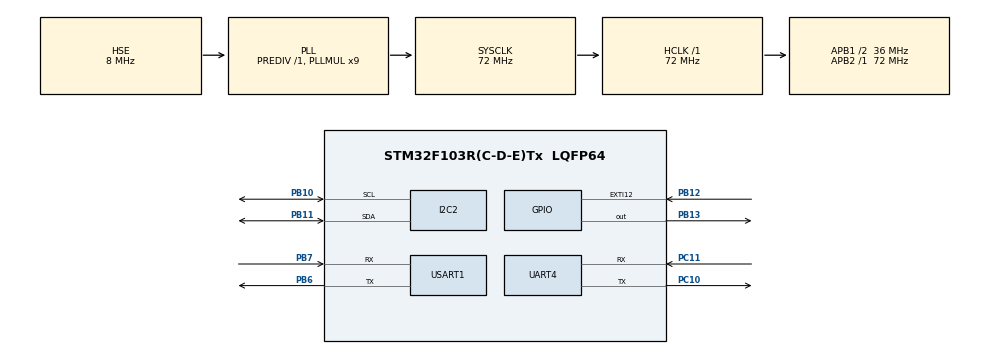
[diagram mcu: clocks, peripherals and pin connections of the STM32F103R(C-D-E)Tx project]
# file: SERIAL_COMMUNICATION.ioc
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I2C2.I2C_Mode=I2C_Fast
Mcu.Family=STM32F1
Mcu.Name=STM32F103R(C-D-E)Tx
Mcu.Package=LQFP64
NVIC.EXTI15_10_IRQn=true\:0\:0\:false\:false\:true\:true\:true\:true
NVIC.PriorityGroup=NVIC_PRIORITYGROUP_4
NVIC.UART4_IRQn=true\:0\:0\:false\:false\:true\:true\:true\:true
PA13.Mode=Serial_Wire
PA13.Signal=SYS_JTMS-SWDIO
PA14.Mode=Serial_Wire
PA14.Signal=SYS_JTCK-SWCLK
PB10.Mode=I2C
PB10.Signal=I2C2_SCL
PB11.Mode=I2C
PB11.Signal=I2C2_SDA
PB12.Signal=GPXTI12
PB13.Signal=GPIO_Output
PB6.Mode=Asynchronous
PB6.Signal=USART1_TX
PB7.Mode=Asynchronous
PB7.Signal=USART1_RX
PC10.Mode=Asynchronous
PC10.Signal=UART4_TX
PC11.Mode=Asynchronous
PC11.Signal=UART4_RX
PC14-OSC32_IN.Mode=LSE-External-Oscillator
PC14-OSC32_IN.Signal=RCC_OSC32_IN
PC15-OSC32_OUT.Mode=LSE-External-Oscillator
PC15-OSC32_OUT.Signal=RCC_OSC32_OUT
PD0-OSC_IN.Mode=HSE-External-Oscillator
PD0-OSC_IN.Signal=RCC_OSC_IN
PD1-OSC_OUT.Mode=HSE-External-Oscillator
PD1-OSC_OUT.Signal=RCC_OSC_OUT
ProjectManager.HeapSize=0x200
ProjectManager.StackSize=0x400
ProjectManager.TargetToolchain=STM32CubeIDE
RCC.AHBFreq_Value=72000000
RCC.APB1CLKDivider=RCC_HCLK_DIV2
RCC.APB1Freq_Value=36000000
RCC.APB1TimFreq_Value=72000000
RCC.APB2Freq_Value=72000000
RCC.APB2TimFreq_Value=72000000
RCC.HCLKFreq_Value=72000000
RCC.PLLMUL=RCC_PLL_MUL9
RCC.PLLSourceVirtual=RCC_PLLSOURCE_HSE
RCC.SYSCLKFreq_VALUE=72000000
RCC.SYSCLKSource=RCC_SYSCLKSOURCE_PLLCLK
RCC.USBFreq_Value=72000000
UART4.VirtualMode=Asynchronous
USART1.VirtualMode=VM_ASYNC
board=custom

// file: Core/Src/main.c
/* USER CODE BEGIN Header */
/**
 ******************************************************************************
 * @file           : main.c
 * @brief          : Main program body
 ******************************************************************************
 * @attention
 *
 * Copyright (c) 2022 STMicroelectronics.
 * All rights reserved.
 *
 * This software is licensed under terms that can be found in the LICENSE file
 * in the root directory of this software component.
 * If no LICENSE file comes with this software, it is provided AS-IS.
 *
 ******************************************************************************
 */
/* USER CODE END Header */
#include "main.h"

/* USER CODE BEGIN Includes */
#include "FRAME_PARSE.h"
#include "max30102.h"
#include "uart_print.h"
#include "spo2_algorithm.h"
#include  "dev_act_hdl.h"
/* USER CODE END Includes */

I2C_HandleTypeDef hi2c2;

UART_HandleTypeDef huart4;
UART_HandleTypeDef huart1;

/* USER CODE BEGIN PV */
uint8_t receive_data;
FrameParse_t FrameParse;
MAX30105_t particleSensor;
USART_H_t USART_handler;
// global definitions.
extern unsigned char RxBuf[RXBUFSIZE];// receive buffer
extern int RxHead; // circular buffer index
extern int RxTail; // circular buffer index

// MAX30102
#if defined(__AVR_ATmega328P__) || defined(__AVR_ATmega168__)
// Arduino Uno doesn't have enough SRAM to store 100 samples of IR led data and red led data in 32-bit format
// To solve this problem, 16-bit MSB of the sampled data will be truncated. Samples become 16-bit data.
uint16_t irBuffer[100];  // infrared LED sensor data
uint16_t redBuffer[100]; // red LED sensor data
#else
uint32_t irBuffer[100];  // infrared LED sensor data
uint32_t redBuffer[100]; // red LED sensor data
#endif
const int32_t ledsBufferLength = 100;  // data length
uint8_t ledBufIndex = 0;
//int32_t MAX30102_O_BUF[4];
int32_t spo2 = 0;          // SPO2 value
int8_t validSPO2 = 0;      // indicator to show if the SPO2 calculation is valid
int32_t heartRate = 0;     // heart rate value
int8_t validHeartRate = 0; // indicator to show if the heart rate calculation is valid

//
uint8_t startToCalculate = 1;
/* USER CODE END PV */

void SystemClock_Config(void);
static void MX_GPIO_Init(void);
static void MX_UART4_Init(void);
static void MX_USART1_UART_Init(void);
static void MX_I2C2_Init(void);

/* USER CODE BEGIN 0 */
void HAL_UART_RxCpltCallback(UART_HandleTypeDef *huart)
{
	// huart 4
	//	if(*huart == &huart4)
	//	{
	uint8_t rx = huart->Instance->DR;

	// put new char into buffer from UART
	RxBuf[RxHead] = rx;

	if ((++RxHead) > (RXBUFSIZE-1))
	{
		RxHead = 0;
	}

	//
	HAL_UART_Receive_IT(&huart4, &receive_data, 1);
	//		uint8_t __char = _getchar();
	//	    HAL_UART_Transmit(&huart1, &rx, 1, 1000);
	//	    if(rx == 0xE2u)
	//	    	HAL_GPIO_TogglePin(GPIOB, GPIO_PIN_12);

	//	}

}

void Handle_UART_FP()
{
	if(FrameParse.FP_MOD != DECT_COML)
	{
		uint8_t __char = _getchar();
		ParseFrameHandler(&FrameParse, __char);
		//		HAL_UART_Transmit(&huart1, &__char, 1, 100);
	}
	else
	{
		HandlerDeviceAction(FrameParse._CMD,
				FrameParse.buffer.len,
				FrameParse.buffer.data);
		FP_Init(&FrameParse);
	}
}
/* USER CODE END 0 */

int main(void)
{

  /* MCU Configuration--------------------------------------------------------*/

  /* Reset of all peripherals, Initializes the Flash interface and the Systick. */
  HAL_Init();

  /* USER CODE BEGIN Init */
	FP_Init(&FrameParse);
	MAX30105_Init(&particleSensor, &hi2c2);
	USART_Init(&USART_handler, &huart1);
  /* USER CODE END Init */

  /* Configure the system clock */
  SystemClock_Config();

  /* Initialize all configured peripherals */
  MX_GPIO_Init();
  MX_UART4_Init();
  MX_USART1_UART_Init();
  MX_I2C2_Init();
  /* USER CODE BEGIN 2 */
	// Initialize sensor
	if(!MAX30105_begin(&particleSensor, MAX30105_ADDRESS))
	{
		//MAX30105 was not found. Please check wiring/power.
		while(1);
	}

	uint8_t ledBrightness = 60; // Options: 0=Off to 255=50mA
	uint8_t sampleAverage = 4;  // Options: 1, 2, 4, 8, 16, 32
	uint8_t ledMode = 2;        // Options: 1 = Red only, 2 = Red + IR, 3 = Red + IR + Green
	uint8_t sampleRate = 100;   // Options: 50, 100, 200, 400, 800, 1000, 1600, 3200
	int pulseWidth = 411;    // Options: 69, 118, 215, 411
	int adcRange = 4096;     // Options: 2048, 4096, 8192, 16384

	MAX30105_setup(&particleSensor, ledBrightness, sampleAverage, ledMode, sampleRate, pulseWidth, adcRange); // Configure sensor with these settings

	//
	HAL_UART_Receive_IT(&huart4, &receive_data, 1);
  /* USER CODE END 2 */

  /* Infinite loop */
	while (1)
	{

    /* USER CODE BEGIN 3 */
		if(RxTail != RxHead || FrameParse.FP_MOD == DECT_COML)
			Handle_UART_FP();
		else

			if(startToCalculate)
			{
				uint8_t pData[DEV_0_DT_LEN];
				//		bufferLength = 100; // buffer length of 100 stores 4 seconds of samples running at 25sps
				// read the first 100 samples, and determine the signal range
				for (uint8_t i = 0 ; i < (ledsBufferLength - 1); i++)
				{
					while (!MAX30105_available(&particleSensor)) // do we have new data?
						MAX30105_check(&particleSensor);		// Check the sensor for new data

					redBuffer[i] = MAX30105_getRed(&particleSensor);
					irBuffer[i] = MAX30105_getIR(&particleSensor);
					MAX30105_nextSample(&particleSensor); // We're finished with this sample so move to next sample
					USART_Transmit(&USART_handler, "\r\nred = %d, i = %d", redBuffer[i], i);
					USART_Transmit(&USART_handler, ", ir = %d", irBuffer[i]);

					//
					*((uint16_t*)pData + 0) = redBuffer[i];
					*((uint16_t*)pData + 1) = irBuffer[i];
//					*((uint32_t*)pData + 1) = spo2;
//					*((uint32_t*)pData + 2) = heartRate;
					pData[5] = i; // sychronize, eliminate 8 bytes SPO2 and HR
					//				HandlerDeviceAction(0x00, DEV_0_DT_LEN, pData);
					HandleDeviceSendFrame(0x00, DEV_0_DT_LEN - 8, pData);
				}

				// in 100th
				while (!MAX30105_available(&particleSensor)) // do we have new data?
					MAX30105_check(&particleSensor);		// Check the sensor for new data

				redBuffer[ledsBufferLength - 1] = MAX30105_getRed(&particleSensor);
				irBuffer[ledsBufferLength - 1] = MAX30105_getIR(&particleSensor);
				MAX30105_nextSample(&particleSensor); // We're finished with this sample so move to next sample
				//calculate heart rate and SpO2 after first 100 samples (first 4 seconds of samples)
				maxim_heart_rate_and_oxygen_saturation(irBuffer, ledsBufferLength, redBuffer, &spo2, &validSPO2, &heartRate, &validHeartRate);

				USART_Transmit(&USART_handler, "\r\nred = %d, i = %d", redBuffer[ledsBufferLength - 1], ledsBufferLength - 1);
				USART_Transmit(&USART_handler, ", ir = %d", irBuffer[ledsBufferLength - 1]);
				USART_Transmit(&USART_handler, ", HR = %d", heartRate);
				USART_Transmit(&USART_handler, ", HRvalid = %d", validHeartRate);
				USART_Transmit(&USART_handler, ", SPO2 = %d", spo2);
				USART_Transmit(&USART_handler, ", SPO2Valid = %d", validSPO2);

				//
				*((uint16_t*)pData + 0) = redBuffer[ledsBufferLength - 1];
				*((uint16_t*)pData + 1) = irBuffer[ledsBufferLength - 1];
				*((uint32_t*)pData + 1) = spo2;
				*((uint32_t*)pData + 2) = heartRate;
				pData[DEV_0_DT_LEN - 1] = ledsBufferLength - 1; // sychronize
				//			HandlerDeviceAction(0x00, DEV_0_DT_LEN, pData);
				HandleDeviceSendFrame(0x00, DEV_0_DT_LEN, pData);

				//			startToCalculate = 0;
			}

		//		// Continuously taking samples from MAX30102.  Heart rate and SpO2 are calculated every 1 second
		//		while (startToCalculate)
		//		{
		//			uint8_t pData[DEV_0_DT_LEN];
		//			// dumping the first 25 sets of samples in the memory and shift the last 75 sets of samples to the top
		//			for (uint8_t i = 25; i < 100; i++)
		//			{
		//				redBuffer[i - 25] = redBuffer[i];
		//				irBuffer[i - 25] = irBuffer[i];
		//
		//				//
		//				*((uint16_t*)pData + 0) = redBuffer[i - 25];
		//				*((uint16_t*)pData + 1) = irBuffer[i - 25];
		//				*((uint32_t*)pData + 1) = spo2;
		//				*((uint32_t*)pData + 2) = heartRate;
		//				HandlerDeviceAction(0x00, DEV_0_DT_LEN, pData);
		//			}
		//
		////
		////			// take 25 sets of samples before calculating the heart rate.
		//			for (uint8_t i = 75; i < 100; i++)
		//			{
		//				while (!MAX30105_available(&particleSensor)) // do we have new data?
		//					MAX30105_check(&particleSensor);		// Check the sensor for new data
		//
		////				HAL_GPIO_WritePin(GPIOB, GPIO_PIN_13,
		////						!HAL_GPIO_ReadPin(GPIOB, GPIO_PIN_13)
		////				); // Blink onboard LED with every data read
		//
		//				redBuffer[i] = MAX30105_getRed(&particleSensor);
		//				irBuffer[i] = MAX30105_getIR(&particleSensor);
		//				MAX30105_nextSample(&particleSensor); // We're finished with this sample so move to next sample
		//
		////				UART_sendByte(&USART_handler, redBuffer[i]);
		//				USART_Transmit(&USART_handler, "\r\nred = %d", redBuffer[i]);
		//				USART_Transmit(&USART_handler, ", ir = %d", irBuffer[i]);
		//
		//				USART_Transmit(&USART_handler, ", HR = %d", heartRate);
		//				USART_Transmit(&USART_handler, ", HRvalid = %d", validHeartRate);
		//				USART_Transmit(&USART_handler, ", SPO2 = %d", spo2);
		//				USART_Transmit(&USART_handler, ", SPO2Valid = %d", validSPO2);
		//
		//				//
		////				uint8_t pData[DEV_0_DT_LEN];
		//				*((uint16_t*)pData + 0) = redBuffer[i];
		//				*((uint16_t*)pData + 1) = irBuffer[i];
		//				*((uint32_t*)pData + 1) = spo2;
		//				*((uint32_t*)pData + 2) = heartRate;
		//				HandlerDeviceAction(0x00, DEV_0_DT_LEN, pData);
		//			}
		//
		////			// After gathering 25 new samples recalculate HR and SP02
		//			maxim_heart_rate_and_oxygen_saturation(irBuffer, ledsBufferLength, redBuffer, &spo2, &validSPO2, &heartRate, &validHeartRate);
		//			//
		////			uint8_t pData[DEV_0_DT_LEN];
		//			*((uint16_t*)pData + 0) = redBuffer[ledsBufferLength - 1];
		//			*((uint16_t*)pData + 1) = irBuffer[ledsBufferLength - 1];
		//			*((uint32_t*)pData + 1) = spo2;
		//			*((uint32_t*)pData + 2) = heartRate;
		//			HandlerDeviceAction(0x00, DEV_0_DT_LEN, pData);
		//			//
		//			startToCalculate = 0;
		//		}

	}
  /* USER CODE END 3 */
}

void SystemClock_Config(void)
{
  RCC_OscInitTypeDef RCC_OscInitStruct = {0};
  RCC_ClkInitTypeDef RCC_ClkInitStruct = {0};

  /** Initializes the RCC Oscillators according to the specified parameters
  * in the RCC_OscInitTypeDef structure.
  */
  RCC_OscInitStruct.OscillatorType = RCC_OSCILLATORTYPE_HSE;
  RCC_OscInitStruct.HSEState = RCC_HSE_ON;
  RCC_OscInitStruct.HSEPredivValue = RCC_HSE_PREDIV_DIV1;
  RCC_OscInitStruct.HSIState = RCC_HSI_ON;
  RCC_OscInitStruct.PLL.PLLState = RCC_PLL_ON;
  RCC_OscInitStruct.PLL.PLLSource = RCC_PLLSOURCE_HSE;
  RCC_OscInitStruct.PLL.PLLMUL = RCC_PLL_MUL9;
  if (HAL_RCC_OscConfig(&RCC_OscInitStruct) != HAL_OK)
  {
    Error_Handler();
  }

  /** Initializes the CPU, AHB and APB buses clocks
  */
  RCC_ClkInitStruct.ClockType = RCC_CLOCKTYPE_HCLK|RCC_CLOCKTYPE_SYSCLK
                              |RCC_CLOCKTYPE_PCLK1|RCC_CLOCKTYPE_PCLK2;
  RCC_ClkInitStruct.SYSCLKSource = RCC_SYSCLKSOURCE_PLLCLK;
  RCC_ClkInitStruct.AHBCLKDivider = RCC_SYSCLK_DIV1;
  RCC_ClkInitStruct.APB1CLKDivider = RCC_HCLK_DIV2;
  RCC_ClkInitStruct.APB2CLKDivider = RCC_HCLK_DIV1;

  if (HAL_RCC_ClockConfig(&RCC_ClkInitStruct, FLASH_LATENCY_2) != HAL_OK)
  {
    Error_Handler();
  }
}

static void MX_I2C2_Init(void)
{

  hi2c2.Instance = I2C2;
  hi2c2.Init.ClockSpeed = 400000;
  hi2c2.Init.DutyCycle = I2C_DUTYCYCLE_2;
  hi2c2.Init.OwnAddress1 = 0;
  hi2c2.Init.AddressingMode = I2C_ADDRESSINGMODE_7BIT;
  hi2c2.Init.DualAddressMode = I2C_DUALADDRESS_DISABLE;
  hi2c2.Init.OwnAddress2 = 0;
  hi2c2.Init.GeneralCallMode = I2C_GENERALCALL_DISABLE;
  hi2c2.Init.NoStretchMode = I2C_NOSTRETCH_DISABLE;
  if (HAL_I2C_Init(&hi2c2) != HAL_OK)
  {
    Error_Handler();
  }

}

static void MX_UART4_Init(void)
{

  huart4.Instance = UART4;
  huart4.Init.BaudRate = 115200;
  huart4.Init.WordLength = UART_WORDLENGTH_8B;
  huart4.Init.StopBits = UART_STOPBITS_1;
  huart4.Init.Parity = UART_PARITY_NONE;
  huart4.Init.Mode = UART_MODE_TX_RX;
  huart4.Init.HwFlowCtl = UART_HWCONTROL_NONE;
  huart4.Init.OverSampling = UART_OVERSAMPLING_16;
  if (HAL_UART_Init(&huart4) != HAL_OK)
  {
    Error_Handler();
  }

}

static void MX_USART1_UART_Init(void)
{

  huart1.Instance = USART1;
  huart1.Init.BaudRate = 115200;
  huart1.Init.WordLength = UART_WORDLENGTH_8B;
  huart1.Init.StopBits = UART_STOPBITS_1;
  huart1.Init.Parity = UART_PARITY_NONE;
  huart1.Init.Mode = UART_MODE_TX_RX;
  huart1.Init.HwFlowCtl = UART_HWCONTROL_NONE;
  huart1.Init.OverSampling = UART_OVERSAMPLING_16;
  if (HAL_UART_Init(&huart1) != HAL_OK)
  {
    Error_Handler();
  }

}

static void MX_GPIO_Init(void)
{
  GPIO_InitTypeDef GPIO_InitStruct = {0};

  /* GPIO Ports Clock Enable */
  __HAL_RCC_GPIOC_CLK_ENABLE();
  __HAL_RCC_GPIOD_CLK_ENABLE();
  __HAL_RCC_GPIOB_CLK_ENABLE();
  __HAL_RCC_GPIOA_CLK_ENABLE();

  /*Configure GPIO pin Output Level */
  HAL_GPIO_WritePin(GPIOB, GPIO_PIN_13, GPIO_PIN_RESET);

  /*Configure GPIO pin : PB12 */
  GPIO_InitStruct.Pin = GPIO_PIN_12;
  GPIO_InitStruct.Mode = GPIO_MODE_IT_RISING;
  GPIO_InitStruct.Pull = GPIO_NOPULL;
  HAL_GPIO_Init(GPIOB, &GPIO_InitStruct);

  /*Configure GPIO pin : PB13 */
  GPIO_InitStruct.Pin = GPIO_PIN_13;
  GPIO_InitStruct.Mode = GPIO_MODE_OUTPUT_PP;
  GPIO_InitStruct.Pull = GPIO_NOPULL;
  GPIO_InitStruct.Speed = GPIO_SPEED_FREQ_LOW;
  HAL_GPIO_Init(GPIOB, &GPIO_InitStruct);

  /* EXTI interrupt init*/
  HAL_NVIC_SetPriority(EXTI15_10_IRQn, 0, 0);
  HAL_NVIC_EnableIRQ(EXTI15_10_IRQn);

}

void Error_Handler(void)
{
	__disable_irq();
	while (1)
	{
	}
}
